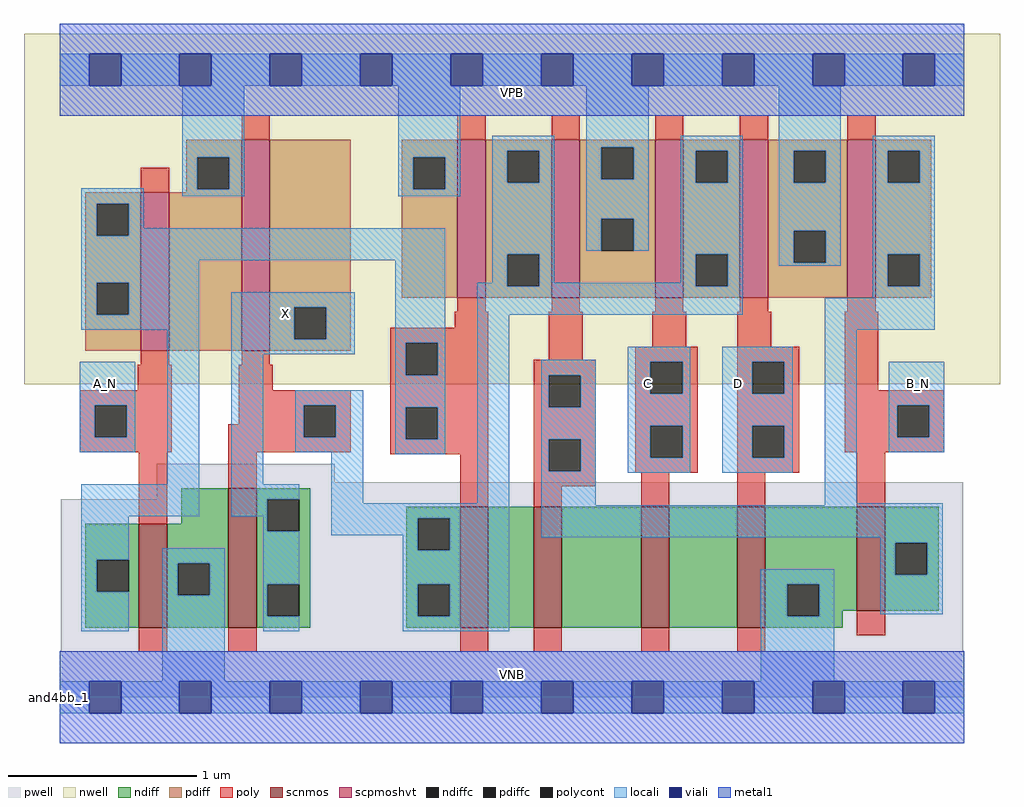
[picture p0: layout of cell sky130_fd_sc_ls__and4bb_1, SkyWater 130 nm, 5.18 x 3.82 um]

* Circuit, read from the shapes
.subckt sky130_fd_sc_ls__and4bb_1 A_N B_N C D VGND VNB VPB VPWR X
XM1 VGND A_N n1 VNB sky130_fd_pr__nfet_01v8 w=0.55 l=0.15
XM2 X n2 VGND VNB sky130_fd_pr__nfet_01v8 w=0.74 l=0.15
XM3 n3 n1 n2 VNB sky130_fd_pr__nfet_01v8 w=0.64 l=0.15
XM4 n4 n5 n3 VNB sky130_fd_pr__nfet_01v8 w=0.64 l=0.15
XM5 n6 C n4 VNB sky130_fd_pr__nfet_01v8 w=0.64 l=0.15
XM6 VGND D n6 VNB sky130_fd_pr__nfet_01v8 w=0.64 l=0.15
XM7 n5 B_N VGND VNB sky130_fd_pr__nfet_01v8 w=0.55 l=0.15
XM8 VPWR A_N n1 VPB sky130_fd_pr__pfet_01v8_hvt w=0.84 l=0.15
XM9 X n2 VPWR VPB sky130_fd_pr__pfet_01v8_hvt w=1.12 l=0.15
XM10 n2 n1 VPWR VPB sky130_fd_pr__pfet_01v8_hvt w=0.84 l=0.15
XM11 VPWR n5 n2 VPB sky130_fd_pr__pfet_01v8_hvt w=0.84 l=0.15
XM12 n2 C VPWR VPB sky130_fd_pr__pfet_01v8_hvt w=0.84 l=0.15
XM13 VPWR D n2 VPB sky130_fd_pr__pfet_01v8_hvt w=0.84 l=0.15
XM14 n5 B_N VPWR VPB sky130_fd_pr__pfet_01v8_hvt w=0.84 l=0.15
.ends

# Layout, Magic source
magic
tech sky130A
magscale 1 2
<< nwell >>
rect -38 332 998 704
<< pwell >>
rect 103 228 292 248
rect 103 210 959 228
rect 1 49 959 210
rect 0 0 960 49
<< scnmos >>
rect 84 74 114 184
rect 179 74 209 222
rect 425 74 455 202
rect 503 74 533 202
rect 617 74 647 202
rect 719 74 749 202
rect 846 92 876 202
<< scpmoshvt >>
rect 86 368 116 536
rect 193 368 223 592
rect 422 424 452 592
rect 522 424 552 592
rect 632 424 662 592
rect 722 424 752 592
rect 836 424 866 592
<< ndiff >>
rect 129 184 179 222
rect 27 146 84 184
rect 27 112 39 146
rect 73 112 84 146
rect 27 74 84 112
rect 114 142 179 184
rect 114 108 125 142
rect 159 108 179 142
rect 114 74 179 108
rect 209 210 266 222
rect 209 176 220 210
rect 254 176 266 210
rect 209 120 266 176
rect 209 86 220 120
rect 254 86 266 120
rect 209 74 266 86
rect 368 190 425 202
rect 368 156 380 190
rect 414 156 425 190
rect 368 120 425 156
rect 368 86 380 120
rect 414 86 425 120
rect 368 74 425 86
rect 455 74 503 202
rect 533 74 617 202
rect 647 74 719 202
rect 749 120 846 202
rect 749 86 772 120
rect 806 92 846 120
rect 876 164 933 202
rect 876 130 887 164
rect 921 130 933 164
rect 876 92 933 130
rect 806 86 831 92
rect 749 74 831 86
<< pdiff >>
rect 134 573 193 592
rect 134 539 146 573
rect 180 539 193 573
rect 134 536 193 539
rect 27 524 86 536
rect 27 490 39 524
rect 73 490 86 524
rect 27 440 86 490
rect 27 406 39 440
rect 73 406 86 440
rect 27 368 86 406
rect 116 368 193 536
rect 223 414 309 592
rect 363 573 422 592
rect 363 539 375 573
rect 409 539 422 573
rect 363 424 422 539
rect 452 580 522 592
rect 452 546 475 580
rect 509 546 522 580
rect 452 470 522 546
rect 452 436 475 470
rect 509 436 522 470
rect 452 424 522 436
rect 552 584 632 592
rect 552 550 575 584
rect 609 550 632 584
rect 552 508 632 550
rect 552 474 575 508
rect 609 474 632 508
rect 552 424 632 474
rect 662 580 722 592
rect 662 546 675 580
rect 709 546 722 580
rect 662 470 722 546
rect 662 436 675 470
rect 709 436 722 470
rect 662 424 722 436
rect 752 580 836 592
rect 752 546 779 580
rect 813 546 836 580
rect 752 495 836 546
rect 752 461 779 495
rect 813 461 836 495
rect 752 424 836 461
rect 866 580 925 592
rect 866 546 879 580
rect 913 546 925 580
rect 866 470 925 546
rect 866 436 879 470
rect 913 436 925 470
rect 866 424 925 436
rect 223 380 249 414
rect 283 380 309 414
rect 223 368 309 380
<< ndiffc >>
rect 39 112 73 146
rect 125 108 159 142
rect 220 176 254 210
rect 220 86 254 120
rect 380 156 414 190
rect 380 86 414 120
rect 772 86 806 120
rect 887 130 921 164
<< pdiffc >>
rect 146 539 180 573
rect 39 490 73 524
rect 39 406 73 440
rect 375 539 409 573
rect 475 546 509 580
rect 475 436 509 470
rect 575 550 609 584
rect 575 474 609 508
rect 675 546 709 580
rect 675 436 709 470
rect 779 546 813 580
rect 779 461 813 495
rect 879 546 913 580
rect 879 436 913 470
rect 249 380 283 414
<< poly >>
rect 193 592 223 618
rect 422 592 452 618
rect 522 592 552 618
rect 632 592 662 618
rect 722 592 752 618
rect 836 592 866 618
rect 86 536 116 562
rect 422 409 452 424
rect 522 409 552 424
rect 632 409 662 424
rect 722 409 752 424
rect 836 409 866 424
rect 419 392 455 409
rect 351 376 455 392
rect 86 353 116 368
rect 193 353 223 368
rect 83 326 119 353
rect 21 310 119 326
rect 21 276 37 310
rect 71 276 119 310
rect 190 326 226 353
rect 351 342 367 376
rect 401 342 455 376
rect 519 358 555 409
rect 629 372 665 409
rect 719 372 755 409
rect 190 310 309 326
rect 190 290 259 310
rect 21 260 119 276
rect 179 276 259 290
rect 293 276 309 310
rect 179 260 309 276
rect 351 308 455 342
rect 351 274 367 308
rect 401 274 455 308
rect 84 184 114 260
rect 179 222 209 260
rect 351 258 455 274
rect 425 202 455 258
rect 503 342 569 358
rect 503 308 519 342
rect 553 308 569 342
rect 503 274 569 308
rect 503 240 519 274
rect 553 240 569 274
rect 503 224 569 240
rect 611 356 677 372
rect 611 322 627 356
rect 661 322 677 356
rect 611 288 677 322
rect 611 254 627 288
rect 661 254 677 288
rect 611 238 677 254
rect 719 356 785 372
rect 719 322 735 356
rect 769 322 785 356
rect 719 288 785 322
rect 719 254 735 288
rect 769 254 785 288
rect 833 326 869 409
rect 833 310 939 326
rect 833 276 889 310
rect 923 276 939 310
rect 833 260 939 276
rect 719 238 785 254
rect 503 202 533 224
rect 617 202 647 238
rect 719 202 749 238
rect 846 202 876 260
rect 84 48 114 74
rect 179 48 209 74
rect 425 48 455 74
rect 503 48 533 74
rect 617 48 647 74
rect 719 48 749 74
rect 846 66 876 92
<< polycont >>
rect 37 276 71 310
rect 367 342 401 376
rect 259 276 293 310
rect 367 274 401 308
rect 519 308 553 342
rect 519 240 553 274
rect 627 322 661 356
rect 627 254 661 288
rect 735 322 769 356
rect 735 254 769 288
rect 889 276 923 310
<< locali >>
rect 0 649 31 683
rect 65 649 127 683
rect 161 649 223 683
rect 257 649 319 683
rect 353 649 415 683
rect 449 649 511 683
rect 545 649 607 683
rect 641 649 703 683
rect 737 649 799 683
rect 833 649 895 683
rect 929 649 960 683
rect 130 573 196 649
rect 23 524 89 540
rect 130 539 146 573
rect 180 539 196 573
rect 130 532 196 539
rect 359 573 425 649
rect 359 539 375 573
rect 409 539 425 573
rect 359 532 425 539
rect 459 580 525 596
rect 459 546 475 580
rect 509 546 525 580
rect 23 490 39 524
rect 73 498 89 524
rect 73 490 409 498
rect 23 464 409 490
rect 23 440 148 464
rect 23 406 39 440
rect 73 406 148 440
rect 23 390 148 406
rect 21 310 80 356
rect 21 276 37 310
rect 71 276 80 310
rect 21 260 80 276
rect 114 226 148 390
rect 23 192 148 226
rect 182 414 313 430
rect 182 380 249 414
rect 283 380 313 414
rect 182 364 313 380
rect 356 376 409 464
rect 459 470 525 546
rect 559 584 625 649
rect 559 550 575 584
rect 609 550 625 584
rect 559 508 625 550
rect 559 474 575 508
rect 609 474 625 508
rect 659 580 725 596
rect 659 546 675 580
rect 709 546 725 580
rect 459 440 475 470
rect 182 226 216 364
rect 356 342 367 376
rect 401 342 409 376
rect 250 310 322 326
rect 250 276 259 310
rect 293 276 322 310
rect 250 260 322 276
rect 182 210 254 226
rect 182 192 220 210
rect 23 146 73 192
rect 216 176 220 192
rect 23 112 39 146
rect 23 70 73 112
rect 109 142 175 158
rect 109 108 125 142
rect 159 108 175 142
rect 109 17 175 108
rect 216 120 254 176
rect 288 206 322 260
rect 356 308 409 342
rect 356 274 367 308
rect 401 274 409 308
rect 356 258 409 274
rect 443 436 475 440
rect 509 440 525 470
rect 659 470 725 546
rect 659 440 675 470
rect 509 436 675 440
rect 709 436 725 470
rect 763 580 829 649
rect 763 546 779 580
rect 813 546 829 580
rect 763 495 829 546
rect 763 461 779 495
rect 813 461 829 495
rect 763 458 829 461
rect 863 580 929 596
rect 863 546 879 580
rect 913 546 929 580
rect 863 470 929 546
rect 443 406 725 436
rect 863 436 879 470
rect 913 436 929 470
rect 863 424 929 436
rect 443 206 477 406
rect 812 390 929 424
rect 288 190 477 206
rect 288 172 380 190
rect 216 86 220 120
rect 216 70 254 86
rect 364 156 380 172
rect 414 156 477 190
rect 511 342 569 358
rect 511 308 519 342
rect 553 308 569 342
rect 511 274 569 308
rect 511 240 519 274
rect 553 240 569 274
rect 511 204 569 240
rect 603 356 669 372
rect 603 322 627 356
rect 661 322 669 356
rect 603 288 669 322
rect 603 254 627 288
rect 661 254 669 288
rect 603 238 669 254
rect 703 356 778 372
rect 703 322 735 356
rect 769 322 778 356
rect 703 288 778 322
rect 703 254 735 288
rect 769 254 778 288
rect 703 238 778 254
rect 812 206 846 390
rect 880 310 939 356
rect 880 276 889 310
rect 923 276 939 310
rect 880 260 939 276
rect 812 204 937 206
rect 511 170 937 204
rect 364 120 477 156
rect 871 164 937 170
rect 364 86 380 120
rect 414 86 477 120
rect 364 70 477 86
rect 744 120 822 136
rect 744 86 772 120
rect 806 86 822 120
rect 871 130 887 164
rect 921 130 937 164
rect 871 88 937 130
rect 744 17 822 86
rect 0 -17 31 17
rect 65 -17 127 17
rect 161 -17 223 17
rect 257 -17 319 17
rect 353 -17 415 17
rect 449 -17 511 17
rect 545 -17 607 17
rect 641 -17 703 17
rect 737 -17 799 17
rect 833 -17 895 17
rect 929 -17 960 17
<< viali >>
rect 31 649 65 683
rect 127 649 161 683
rect 223 649 257 683
rect 319 649 353 683
rect 415 649 449 683
rect 511 649 545 683
rect 607 649 641 683
rect 703 649 737 683
rect 799 649 833 683
rect 895 649 929 683
rect 31 -17 65 17
rect 127 -17 161 17
rect 223 -17 257 17
rect 319 -17 353 17
rect 415 -17 449 17
rect 511 -17 545 17
rect 607 -17 641 17
rect 703 -17 737 17
rect 799 -17 833 17
rect 895 -17 929 17
<< metal1 >>
rect 0 683 960 715
rect 0 649 31 683
rect 65 649 127 683
rect 161 649 223 683
rect 257 649 319 683
rect 353 649 415 683
rect 449 649 511 683
rect 545 649 607 683
rect 641 649 703 683
rect 737 649 799 683
rect 833 649 895 683
rect 929 649 960 683
rect 0 617 960 649
rect 0 17 960 49
rect 0 -17 31 17
rect 65 -17 127 17
rect 161 -17 223 17
rect 257 -17 319 17
rect 353 -17 415 17
rect 449 -17 511 17
rect 545 -17 607 17
rect 641 -17 703 17
rect 737 -17 799 17
rect 833 -17 895 17
rect 929 -17 960 17
rect 0 -49 960 -17
<< labels >>
rlabel comment s 0 0 0 0 4 and4bb_1
flabel pwell s 0 0 960 49 0 FreeSans 200 0 0 0 VNB
port 6 nsew ground bidirectional
flabel nwell s 0 617 960 666 0 FreeSans 200 0 0 0 VPB
port 7 nsew power bidirectional
flabel metal1 s 0 617 960 666 0 FreeSans 340 0 0 0 VPWR
port 8 nsew power bidirectional abutment
flabel metal1 s 0 0 960 49 0 FreeSans 340 0 0 0 VGND
port 5 nsew ground bidirectional abutment
flabel locali s 703 316 737 350 0 FreeSans 340 0 0 0 D
port 4 nsew signal input
flabel locali s 895 316 929 350 0 FreeSans 340 0 0 0 B_N
port 2 nsew signal input
flabel locali s 223 390 257 424 0 FreeSans 340 0 0 0 X
port 9 nsew signal output
flabel locali s 607 316 641 350 0 FreeSans 340 0 0 0 C
port 3 nsew signal input
flabel locali s 31 316 65 350 0 FreeSans 340 0 0 0 A_N
port 1 nsew signal input
<< properties >>
string LEFsite unit
string LEFclass CORE
string FIXED_BBOX 0 0 960 666
string GDS_FILE $PDKPATH/libs.ref/sky130_fd_sc_ls/gds/sky130_fd_sc_ls.gds
string LEFsymmetry X Y
string GDS_END 3085012
string GDS_START 3077068
<< end >>
